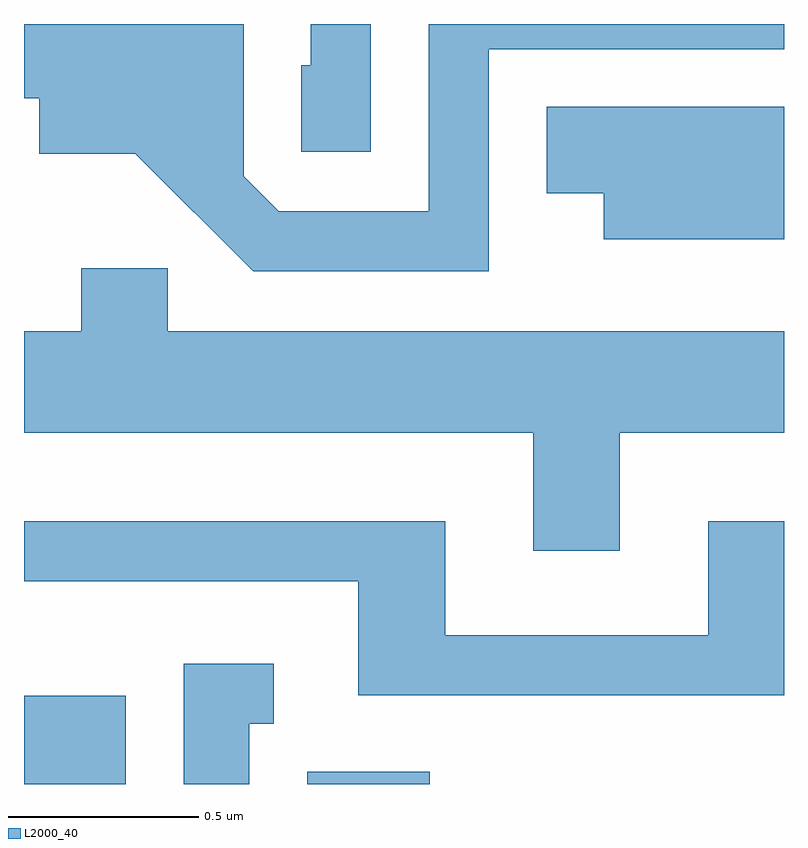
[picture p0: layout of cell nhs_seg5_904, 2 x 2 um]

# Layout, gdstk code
import gdstk
lib = gdstk.Library(unit=1e-6, precision=1e-09)
def R(c, l, rs):  # rectangles x0, y0, x1, y1
    for r in rs: c.add(gdstk.rectangle(r[:2], r[2:], *l))
def P(c, l, *ps):  # polygons
    for p in ps: c.add(gdstk.Polygon(p, *l))
L2000_40 = (2000, 40)

nhs_seg5_904 = lib.new_cell('nhs_seg5_904')
R(nhs_seg5_904, L2000_40, [(191.611,1478.072,191.879,1478.304), (192.356,1478.072,192.679,1478.104)])
P(nhs_seg5_904, L2000_40, [(192.524,1480.072),(192.366,1480.072),(192.366,1479.964),(192.341,1479.964),(192.341,1479.736),(192.524,1479.736)],
  [(192.834,1480.006),(193.611,1480.006),(193.611,1480.072),(192.676,1480.072),(192.676,1479.579),(192.282,1479.579),(192.189,1479.672),(192.189,1480.072),(191.611,1480.072),(191.611,1479.876),(191.651,1479.876),(191.651,1479.731),(191.904,1479.731),(192.214,1479.421),(192.834,1479.421)],
  [(193.611,1479.854),(192.986,1479.854),(192.986,1479.626),(193.136,1479.626),(193.136,1479.506),(193.611,1479.506)],
  [(193.179,1478.996),(193.611,1478.996),(193.611,1479.264),(191.989,1479.264),(191.989,1479.429),(191.761,1479.429),(191.761,1479.264),(191.611,1479.264),(191.611,1478.996),(192.951,1478.996),(192.951,1478.686),(193.179,1478.686)],
  [(193.611,1478.764),(193.411,1478.764),(193.411,1478.464),(192.719,1478.464),(192.719,1478.764),(191.611,1478.764),(191.611,1478.606),(192.491,1478.606),(192.491,1478.306),(193.611,1478.306)],
  [(192.204,1478.231),(192.268,1478.231),(192.268,1478.389),(192.031,1478.389),(192.031,1478.072),(192.204,1478.072)])

lib.write_gds('nhs_seg5_904.gds')
